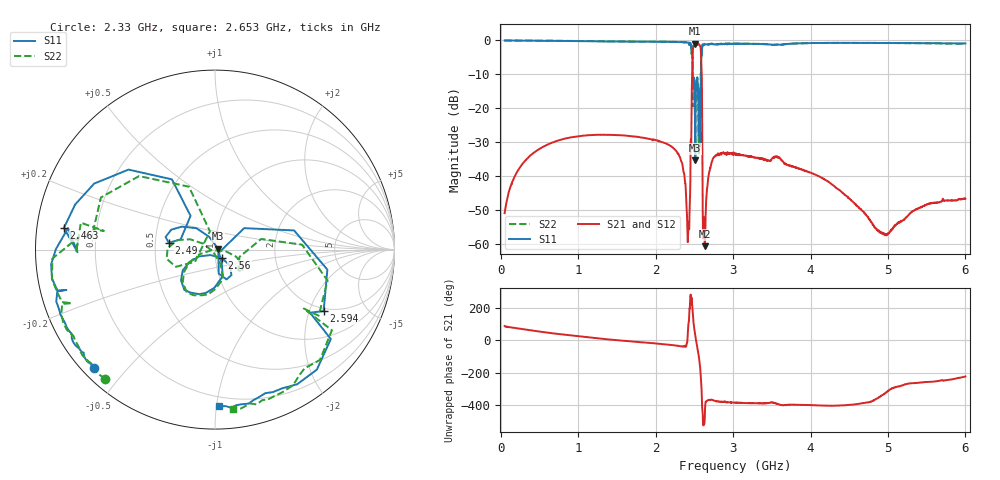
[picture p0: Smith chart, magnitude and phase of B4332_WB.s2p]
! Matrix data file written by TouchstoneData, EPCOS AG
! FILENAME: "B4332_WB.s2p"
! COMMENT: "(B4332_X42Y43_WB.s2p) Epcos AG 11/21/2013 3:"
! INFO: nport=2, nfreq=1601
! DATE: "Tue Dec  3 14:35:13 2013"
! USER: "Rosemary Xue"
! port | pin | signal
!  1  |  1  |  IN
!  2  |  4  |  OUT
# MHZ S RI R 50
! freq  reS11 imS11  reS21 imS21  reS12 imS12  reS22 imS22
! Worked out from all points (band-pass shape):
!   1601 points, 50 MHz to 6 GHz, reference 50 ohm
!   highest |S21| = -0.98 dB at 2.512 GHz (marker M1); lowest = -60.7 dB at 2.635 GHz (marker M2)
!   |S21| within 3 dB of the highest: 2.479 GHz to 2.586 GHz (107.3 MHz wide, 4.24 % of centre)
!   lowest |S11| = -35.4 dB at 2.512 GHz (marker M3), VSWR 1.03, Z = 51.6 + j0.549 ohm
!   |S11| at or under -10 dB: 2.48 GHz to 2.585 GHz (104.2 MHz wide, 4.11 % of centre)
!   |S22| runs from -35.9 to 0.0 dB; largest |S21 - S12| = 0.0042
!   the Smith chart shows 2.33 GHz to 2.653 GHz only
!   S11 on the Smith chart (normalised r, x): 2.33 GHz: 0.03, -0.41; 2.463 GHz: 0.08, +0.07; 2.49 GHz: 0.59, +0.05; 2.56 GHz: 1.08, -0.10; 2.594 GHz: 1.89, -2.51; 2.653 GHz: 0.14, -1.02
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50  0.9958 -0.0661  5.9e-05 0.00283  0.000218 0.00276  0.998 -0.0602
362.375  0.8908 -0.4414  0.0083 0.0172  0.00829 0.0172  0.908 -0.4106
1042.906  0.3522 -0.9088  0.0357 0.0156  0.0358 0.0156  0.432 -0.8851
2035.812  -0.3997 -0.8679  0.031 -0.0114  0.031 -0.0116  -0.3125 -0.9092
2329.594  -0.6759 -0.6596  0.0134 -0.00972  0.0135 -0.00979  -0.6144 -0.7226
2418.844  -0.8468 -0.3884  0.000165 0.00129  0.000177 0.00131  -0.8267 -0.4442
2437.438  -0.8278 -0.2249  -0.00261 -0.000891  -0.00264 -0.000863  -0.8521 -0.2924
2463.469  -0.8413 0.1215  -0.00649 -0.0814  -0.00678 -0.0817  -0.6192 0.1045
2489.5  -0.258 0.0385  -0.2699 0.7625  -0.2693 0.7646  -0.2178 -0.0958
2511.812  0.0162 0.00531  0.7738 0.4472  0.7775 0.4461  -0.0102 -0.0123
2530.406  -0.0872 -0.2482  0.7921 -0.3199  0.7935 -0.3233  -0.069 -0.2541
2560.156  0.0388 -0.047  -0.2583 -0.8404  -0.2619 -0.8419  0.0574 -0.00771
2575.031  0.0209 -0.1338  -0.8107 -0.1604  -0.814 -0.1582  0.1298 -0.1147
2593.625  0.6052 -0.3424  0.2203 0.3044  0.2225 0.3049  0.5775 -0.3686
2634.531  0.1427 -0.8624  -0.000536 -0.000749  -0.000528 -0.000761  0.2303 -0.8624
2653.125  0.0215 -0.8741  0.00426 -0.0013  0.00426 -0.0013  0.0995 -0.8861
2690.312  -0.1221 -0.8698  0.0111 -0.00162  0.0112 -0.00165  -0.0319 -0.8788
2749.812  -0.2592 -0.8349  0.0183 -0.00355  0.0183 -0.00363  -0.1655 -0.8712
3025  -0.4625 -0.7577  0.0191 -0.00912  0.0192 -0.0092  -0.3815 -0.804
4017.906  -0.7164 -0.5713  0.00837 -0.00707  0.00841 -0.00707  -0.6619 -0.6339
5010.812  -0.8539 -0.332  0.000891 0.00111  0.000895 0.00113  -0.8367 -0.375
6000  -0.8979 -0.098  -0.00341 0.00314  -0.00343 0.00316  -0.891 -0.0927
